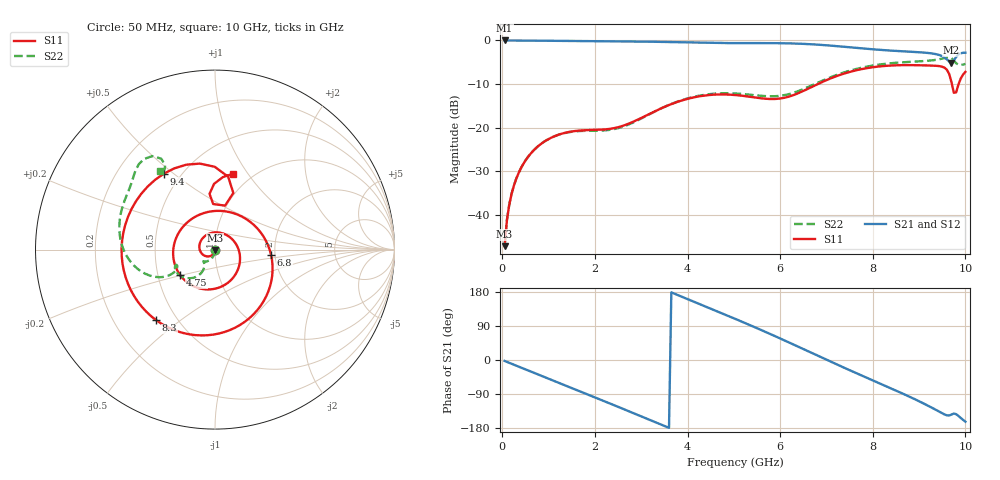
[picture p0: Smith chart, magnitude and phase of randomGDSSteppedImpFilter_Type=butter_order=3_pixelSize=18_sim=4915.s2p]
! freq	dB(S11)	phase(S11)	dB(S12)	phase(S12)
!  dB(S21)	phase(S21)	dB(S22)	phase(S22)
!S-par simulation data
#  GHz  S  DB  R 50
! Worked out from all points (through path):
!   200 points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, 50 MHz to 10 GHz, reference 50 ohm
!   highest |S21| = -0.01 dB at 50 MHz (marker M1); lowest = -5.1 dB at 9.7 GHz (marker M2)
!   group delay of S21, straight-line fit = 146 ps
!   lowest |S11| = -47.2 dB at 50 MHz (marker M3), VSWR 1.01, Z = 50 - j0.438 ohm
!   |S11| at or under -10 dB: start of sweep to 6.812 GHz; 9.709 GHz to 9.854 GHz (145.3 MHz wide, 1.49 % of centre)
!   |S22| runs from -47.1 to -3.9 dB; largest |S21 - S12| = 0
!   S11 on the Smith chart (normalised r, x): 50 MHz: 1.00, -0.01; 4.75 GHz: 0.65, -0.20; 6.8 GHz: 1.90, -0.13; 8.3 GHz: 0.38, -0.41; 9.4 GHz: 0.40, +0.46; 10 GHz: 0.82, +0.86
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0.05  -47.17 -89.9  -0.01 -2.5  -0.01 -2.5  -47.11 -88.3
0.2  -35.22 -102.8  -0.02 -9.9  -0.02 -9.9  -35.17 -96.2
0.5  -27.54 -123.5  -0.04 -24.8  -0.04 -24.8  -27.52 -106.3
1.15  -21.86 -169.9  -0.09 -56.7  -0.09 -56.7  -21.87 -125.3
1.75  -20.61 140.3  -0.13 -86.2  -0.13 -86.2  -20.74 -135.0
2.5  -19.90 59.3  -0.19 -123.5  -0.19 -123.5  -20.12 -127.4
3.4  -15.71 -35.7  -0.33 -168.9  -0.33 -168.9  -15.73 -121.7
4.05  -13.26 -89.2  -0.49 158.3  -0.49 158.3  -13.15 -133.5
4.75  -12.38 -143.7  -0.60 122.9  -0.60 122.9  -12.11 -149.2
5.05  -12.53 -168.9  -0.62 107.5  -0.62 107.5  -12.17 -154.6
5.85  -13.44 107.2  -0.62 65.1  -0.62 65.1  -12.81 -156.9
6.7  -10.57 4.8  -0.89 17.6  -0.89 17.6  -10.22 -151.2
6.8  -10.06 -5.5  -0.96 12.0  -0.96 12.0  -9.74 -152.2
7.65  -6.82 -79.6  -1.71 -35.0  -1.71 -35.0  -6.52 -171.2
8.3  -5.81 -129.9  -2.27 -69.8  -2.27 -69.8  -5.33 169.3
8.35  -5.78 -133.8  -2.31 -72.5  -2.31 -72.5  -5.27 167.9
8.95  -5.68 174.7  -2.67 -105.9  -2.67 -105.9  -4.83 151.0
9.4  -5.85 123.9  -3.23 -134.0  -3.23 -134.0  -4.39 139.5
9.6  -6.72 90.2  -4.35 -146.0  -4.35 -146.0  -3.90 131.6
9.7  -9.59 72.1  -5.09 -144.0  -5.09 -144.0  -4.05 123.8
9.8  -11.90 92.3  -3.78 -142.9  -3.78 -142.9  -5.22 120.4
10  -7.21 76.3  -2.83 -162.8  -2.83 -162.8  -5.38 125.1
